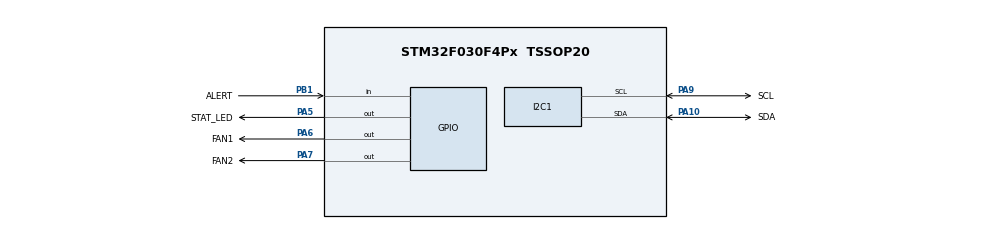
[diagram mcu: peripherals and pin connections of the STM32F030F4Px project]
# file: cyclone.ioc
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I2C1.Timing=0x00201D2B
Mcu.Family=STM32F0
Mcu.Name=STM32F030F4Px
Mcu.Package=TSSOP20
NVIC.TIM3_IRQn=true\:0\:0\:false\:false\:true\:true\:true\:true
PA10.GPIO_Label=SDA
PA10.Mode=I2C
PA10.Signal=I2C1_SDA
PA13.Mode=Serial_Wire
PA13.Signal=SYS_SWDIO
PA14.Mode=Serial_Wire
PA14.Signal=SYS_SWCLK
PA5.GPIO_Label=STAT_LED
PA5.Signal=GPIO_Output
PA6.GPIO_Label=FAN1
PA6.Signal=GPIO_Output
PA7.GPIO_Label=FAN2
PA7.Signal=GPIO_Output
PA9.GPIO_Label=SCL
PA9.Mode=I2C
PA9.Signal=I2C1_SCL
PB1.GPIO_Label=ALERT
PB1.Signal=GPIO_Input
ProjectManager.HeapSize=0x200
ProjectManager.StackSize=0x400
ProjectManager.TargetToolchain=STM32CubeIDE
TIM3.Period=100 -1
TIM3.Prescaler=8000 -1
VP_TIM3_VS_ClockSourceINT.Mode=Internal
board=custom

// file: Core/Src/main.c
/* USER CODE BEGIN Header */
/**
 ******************************************************************************
 * @file           : main.c
 * @brief          : Main program body
 ******************************************************************************
 * @attention
 *
 * Copyright (c) 2024 STMicroelectronics.
 * All rights reserved.
 *
 * This software is licensed under terms that can be found in the LICENSE file
 * in the root directory of this software component.
 * If no LICENSE file comes with this software, it is provided AS-IS.
 *
 ******************************************************************************
 */
/* USER CODE END Header */
#include "main.h"

/* USER CODE BEGIN Includes */
#include "stdbool.h"
/* USER CODE END Includes */

/* USER CODE BEGIN PD */
#define MCP9808_ADDRESS (0x18 << 1)		/* check datasheet for address options. adjust as needed */
#define TEMPERATURE_THRESHOLD 24.44		/* 24.44 celsius/76 fahrenheit. adjust as needed */
#define FAN_ON_TIME_TICKS 1200  		/* fan on time in ticks / 0.1 seconds per tick */
/* USER CODE END PD */

I2C_HandleTypeDef hi2c1;
TIM_HandleTypeDef htim3;

/* USER CODE BEGIN PV */
bool fanStatus = false;  				/* fan running status */
bool timerRunning = false;  			/* timer running status */
float currentTemperature = 0.0;  		/* current temperature reading */
int timerCounter = 0;  					/* timer counter to keep track of elapsed time in ticks */
/* USER CODE END PV */

void SystemClock_Config(void);
static void MX_GPIO_Init(void);
static void MX_I2C1_Init(void);
static void MX_TIM3_Init(void);
/* USER CODE BEGIN PFP */
float MCP9808_GetTemperature(void);
void turnFanOn(void);
void turnFanOff(void);
/* USER CODE END PFP */

int main(void) {

	/* MCU Configuration--------------------------------------------------------*/

	/* Reset of all peripherals, Initializes the Flash interface and the Systick. */
	HAL_Init();

	/* Configure the system clock */
	SystemClock_Config();

	/* Initialize all configured peripherals */
	MX_GPIO_Init();
	MX_I2C1_Init();
	MX_TIM3_Init();
	/* USER CODE BEGIN 2 */
	// Start Timer 3 interrupt
	HAL_TIM_Base_Start_IT(&htim3);
	/* USER CODE END 2 */

	/* USER CODE BEGIN WHILE */
	while (1) {
		currentTemperature = MCP9808_GetTemperature();

		/* check if the temperature exceeds the threshold and timer is not running */
		if (currentTemperature >= TEMPERATURE_THRESHOLD && !timerRunning) {
			turnFanOn();
			timerRunning = true;
			timerCounter = 0;  /* reset the timer counter */
		}

		/* check if the temperature is below the threshold and timer is done */
		if (currentTemperature < TEMPERATURE_THRESHOLD && !timerRunning) {
			turnFanOff();
		}

		HAL_Delay(1000);
	}
	/* USER CODE END WHILE */

	/* USER CODE BEGIN 3 */
}

void SystemClock_Config(void) {
	RCC_OscInitTypeDef RCC_OscInitStruct = { 0 };
	RCC_ClkInitTypeDef RCC_ClkInitStruct = { 0 };
	RCC_PeriphCLKInitTypeDef PeriphClkInit = { 0 };

	/** Initializes the RCC Oscillators according to the specified parameters
	 * in the RCC_OscInitTypeDef structure.
	 */
	RCC_OscInitStruct.OscillatorType = RCC_OSCILLATORTYPE_HSI;
	RCC_OscInitStruct.HSIState = RCC_HSI_ON;
	RCC_OscInitStruct.HSICalibrationValue = RCC_HSICALIBRATION_DEFAULT;
	RCC_OscInitStruct.PLL.PLLState = RCC_PLL_NONE;
	if (HAL_RCC_OscConfig(&RCC_OscInitStruct) != HAL_OK) {
		Error_Handler();
	}

	/** Initializes the CPU, AHB and APB buses clocks
	 */
	RCC_ClkInitStruct.ClockType = RCC_CLOCKTYPE_HCLK | RCC_CLOCKTYPE_SYSCLK
			| RCC_CLOCKTYPE_PCLK1;
	RCC_ClkInitStruct.SYSCLKSource = RCC_SYSCLKSOURCE_HSI;
	RCC_ClkInitStruct.AHBCLKDivider = RCC_SYSCLK_DIV1;
	RCC_ClkInitStruct.APB1CLKDivider = RCC_HCLK_DIV1;

	if (HAL_RCC_ClockConfig(&RCC_ClkInitStruct, FLASH_LATENCY_0) != HAL_OK) {
		Error_Handler();
	}
	PeriphClkInit.PeriphClockSelection = RCC_PERIPHCLK_I2C1;
	PeriphClkInit.I2c1ClockSelection = RCC_I2C1CLKSOURCE_HSI;
	if (HAL_RCCEx_PeriphCLKConfig(&PeriphClkInit) != HAL_OK) {
		Error_Handler();
	}
}

static void MX_I2C1_Init(void) {

	hi2c1.Instance = I2C1;
	hi2c1.Init.Timing = 0x2000090E;
	hi2c1.Init.OwnAddress1 = 0;
	hi2c1.Init.AddressingMode = I2C_ADDRESSINGMODE_7BIT;
	hi2c1.Init.DualAddressMode = I2C_DUALADDRESS_DISABLE;
	hi2c1.Init.OwnAddress2 = 0;
	hi2c1.Init.OwnAddress2Masks = I2C_OA2_NOMASK;
	hi2c1.Init.GeneralCallMode = I2C_GENERALCALL_DISABLE;
	hi2c1.Init.NoStretchMode = I2C_NOSTRETCH_DISABLE;
	if (HAL_I2C_Init(&hi2c1) != HAL_OK) {
		Error_Handler();
	}

	/** Configure Analogue filter
	 */
	if (HAL_I2CEx_ConfigAnalogFilter(&hi2c1, I2C_ANALOGFILTER_ENABLE)
			!= HAL_OK) {
		Error_Handler();
	}

	/** Configure Digital filter
	 */
	if (HAL_I2CEx_ConfigDigitalFilter(&hi2c1, 0) != HAL_OK) {
		Error_Handler();
	}

}

static void MX_TIM3_Init(void) {

	TIM_ClockConfigTypeDef sClockSourceConfig = { 0 };
	TIM_MasterConfigTypeDef sMasterConfig = { 0 };

	htim3.Instance = TIM3;
	htim3.Init.Prescaler = 8000 - 1;
	htim3.Init.CounterMode = TIM_COUNTERMODE_UP;
	htim3.Init.Period = 100 - 1;
	htim3.Init.ClockDivision = TIM_CLOCKDIVISION_DIV1;
	htim3.Init.AutoReloadPreload = TIM_AUTORELOAD_PRELOAD_DISABLE;
	if (HAL_TIM_Base_Init(&htim3) != HAL_OK) {
		Error_Handler();
	}
	sClockSourceConfig.ClockSource = TIM_CLOCKSOURCE_INTERNAL;
	if (HAL_TIM_ConfigClockSource(&htim3, &sClockSourceConfig) != HAL_OK) {
		Error_Handler();
	}
	sMasterConfig.MasterOutputTrigger = TIM_TRGO_RESET;
	sMasterConfig.MasterSlaveMode = TIM_MASTERSLAVEMODE_DISABLE;
	if (HAL_TIMEx_MasterConfigSynchronization(&htim3, &sMasterConfig)
			!= HAL_OK) {
		Error_Handler();
	}

}

static void MX_GPIO_Init(void) {
	GPIO_InitTypeDef GPIO_InitStruct = { 0 };

	/* GPIO Ports Clock Enable */
	__HAL_RCC_GPIOA_CLK_ENABLE();
	__HAL_RCC_GPIOB_CLK_ENABLE();

	/*Configure GPIO pin Output Level */
	HAL_GPIO_WritePin(GPIOA, STAT_LED_Pin | FAN1_Pin | FAN2_Pin,
			GPIO_PIN_RESET);

	/*Configure GPIO pins : STAT_LED_Pin FAN1_Pin FAN2_Pin */
	GPIO_InitStruct.Pin = STAT_LED_Pin | FAN1_Pin | FAN2_Pin;
	GPIO_InitStruct.Mode = GPIO_MODE_OUTPUT_PP;
	GPIO_InitStruct.Pull = GPIO_NOPULL;
	GPIO_InitStruct.Speed = GPIO_SPEED_FREQ_LOW;
	HAL_GPIO_Init(GPIOA, &GPIO_InitStruct);

	/*Configure GPIO pin : ALERT_Pin */
	GPIO_InitStruct.Pin = ALERT_Pin;
	GPIO_InitStruct.Mode = GPIO_MODE_INPUT;
	GPIO_InitStruct.Pull = GPIO_NOPULL;
	HAL_GPIO_Init(ALERT_GPIO_Port, &GPIO_InitStruct);

}

/* USER CODE BEGIN 4 */

/**
 * @brief Get the MCP9808 temperature reading in Celsius. This code is taken from
 * https://embeddedespresso.com/temperature-measurement-never-so-easy-with-stm32-and-mcp9808/
 * and wrapped into a function
 * @retval Float
 */
float MCP9808_GetTemperature() {
	uint8_t tempReg = 0x05u; /* Temperature register address */
	uint8_t dataReg[2]; /* Buffer for reading the register content */
	uint16_t dataRegLong; /* Variable used to store the whole register content */
	float tempVal = 0; /* Float variable used for storing the temperature value */
	float tempValDec; /* Float variable used for calculation of the decimal part */

	/* Address the temperature register */
	HAL_I2C_Master_Transmit(&hi2c1, MCP9808_ADDRESS, &tempReg, 1, 2000u);
	/* Read the temperature register content */
	HAL_I2C_Master_Receive(&hi2c1, MCP9808_ADDRESS | 0x01, dataReg, 2, 2000u);

	/* Compose the register content, regardless of the endianess */
	dataRegLong = ((dataReg[0] << 8u) | dataReg[1]);

	/* Extract the integer part from the fixed point value */
	tempVal = ((dataRegLong & 0x0FFF) >> 4);

	/* Extract decimal part */
	tempValDec = 0.0625;
	for (int i = 0; i < 4; i++) {
		tempVal += ((dataRegLong >> i) & 0x0001) * tempValDec;
		tempValDec *= 2u;
	}

	return tempVal;
}

/**
 * @brief Turn the fan on and update status
 */
void turnFanOn(void) {
	fanStatus = true;
	HAL_GPIO_WritePin(GPIOA, FAN1_Pin | FAN2_Pin | STAT_LED_Pin, GPIO_PIN_SET);
}

/**
 * @brief Turn the fan off and update status
 */
void turnFanOff(void) {
	fanStatus = false;
	HAL_GPIO_WritePin(GPIOA, FAN1_Pin | FAN2_Pin | STAT_LED_Pin, GPIO_PIN_RESET);
}

/**
 * @brief Timer 3 interrupt handler triggered every 100 milliseconds
 * @param htim: Timer handle pointer
 */
void HAL_TIM_PeriodElapsedCallback(TIM_HandleTypeDef *htim) {
	if (htim->Instance == TIM3) {
		if (timerRunning) {
			timerCounter += 1;
			if (timerCounter >= FAN_ON_TIME_TICKS) {
				timerRunning = false;
				timerCounter = 0;
			}
		}
	}
}
/* USER CODE END 4 */

void Error_Handler(void) {
	__disable_irq();
	while (1) {
	}
}
